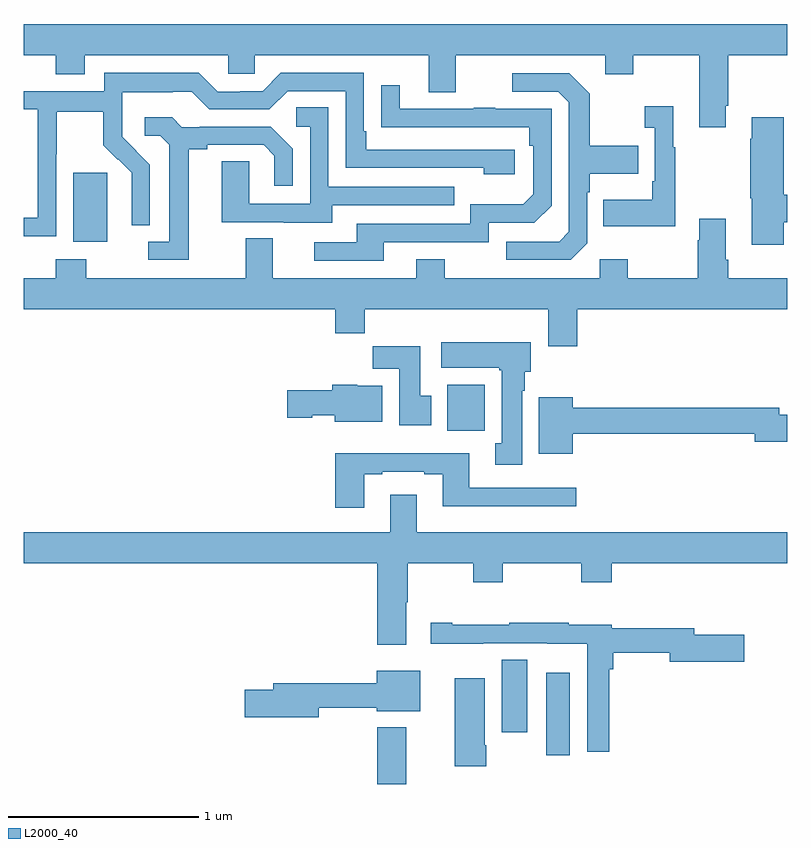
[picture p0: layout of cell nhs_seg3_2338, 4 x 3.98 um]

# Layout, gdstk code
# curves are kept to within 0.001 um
import gdstk
lib = gdstk.Library(unit=1e-6, precision=1e-09)
def R(c, l, rs):  # rectangles x0, y0, x1, y1
    for r in rs: c.add(gdstk.rectangle(r[:2], r[2:], *l))
def P(c, l, *ps):  # polygons
    for p in ps: c.add(gdstk.Polygon(p, *l))
L2000_40 = (2000, 40)

nhs_seg3_2338 = lib.new_cell('nhs_seg3_2338')
R(nhs_seg3_2338, L2000_40, [(232.853,726.4,233.005,726.697), (233.738,726.552,233.86,726.982), (233.504,726.672,233.638,727.052), (233.219,728.252,233.416,728.494), (231.257,729.242,231.436,729.603)])
P(nhs_seg3_2338, L2000_40, [(234.679,729.955),(234.692,729.955),(234.692,730.22),(235,730.22),(235,730.384),(231,730.384),(231,730.22),(231.167,730.22),(231.167,730.121),(231.319,730.121),(231.319,730.22),(232.071,730.22),(232.071,730.122),(232.209,730.122),(232.209,730.22),(233.123,730.22),(233.123,730.026),(233.263,730.026),(233.263,730.22),(234.047,730.22),(234.047,730.121),(234.195,730.121),(234.195,730.22),(234.539,730.22),(234.539,729.843),(234.679,729.843)],
  [(231.168,729.7),(231.171,729.7),(231.171,729.924),(231.415,729.924),(231.415,729.749),(231.492,729.672),(231.495,729.675),(231.566,729.605),(231.566,729.482),(231.564,729.482),(231.564,729.328),(231.66,729.328),(231.66,729.646),(231.514,729.794),(231.514,729.891),(231.516,729.891),(231.516,730.025),(231.779,730.025),(231.779,730.029),(231.879,730.029),(231.972,729.936),(232.287,729.936),(232.383,730.032),(232.686,730.032),(232.686,729.63),(233.411,729.63),(233.411,729.596),(233.572,729.596),(233.572,729.726),(232.795,729.726),(232.795,729.823),(232.782,729.823),(232.782,730.128),(232.347,730.128),(232.251,730.032),(232.133,730.032),(232.133,730.029),(232.017,730.029),(231.917,730.129),(231.42,730.129),(231.42,730.032),(231,730.032),(231,729.936),(231.072,729.936),(231.072,729.369),(231,729.369),(231,729.271),(231.168,729.271)],
  [(233.952,729.234),(233.952,729.503),(233.965,729.503),(233.965,729.599),(234.221,729.599),(234.221,729.747),(233.965,729.747),(233.965,730.019),(233.859,730.125),(233.559,730.125),(233.559,730.029),(233.802,730.029),(233.856,729.975),(233.856,729.294),(233.805,729.243),(233.529,729.243),(233.529,729.147),(233.865,729.147)],
  [(232.885,729.24),(233.436,729.24),(233.436,729.342),(233.676,729.342),(233.766,729.432),(233.766,729.939),(233.471,729.939),(233.471,729.944),(233.359,729.944),(233.359,729.939),(232.969,729.939),(232.969,730.063),(232.873,730.063),(232.873,729.844),(233.65,729.843),(233.65,729.746),(233.67,729.746),(233.67,729.492),(233.617,729.439),(233.34,729.439),(233.34,729.336),(232.745,729.336),(232.745,729.24),(232.521,729.24),(232.521,729.144),(232.885,729.144)],
  [(234.415,729.739),(234.403,729.739),(234.403,729.952),(234.255,729.952),(234.255,729.839),(234.306,729.839),(234.306,729.559),(234.294,729.559),(234.294,729.463),(234.037,729.463),(234.037,729.323),(234.415,729.323)],
  [(232.615,729.435),(233.255,729.435),(233.255,729.531),(232.596,729.531),(232.596,729.947),(232.428,729.947),(232.428,729.846),(232.5,729.846),(232.5,729.441),(232.182,729.441),(232.182,729.665),(232.037,729.665),(232.037,729.345),(232.361,729.345),(232.361,729.341),(232.615,729.341)],
  [(231.865,729.728),(231.961,729.728),(231.961,729.75),(232.256,729.75),(232.313,729.693),(232.313,729.537),(232.41,729.537),(232.41,729.73),(232.294,729.846),(231.922,729.846),(231.922,729.843),(231.828,729.843),(231.776,729.895),(231.633,729.895),(231.633,729.798),(231.714,729.798),(231.761,729.751),(231.761,729.243),(231.651,729.243),(231.651,729.147),(231.865,729.147)],
  [(234.983,729.346),(235,729.346),(235,729.488),(234.983,729.488),(234.983,729.895),(234.815,729.895),(234.815,729.782),(234.808,729.782),(234.808,729.471),(234.815,729.471),(234.815,729.228),(234.983,729.228)],
  [(233.9,728.888),(235,728.888),(235,729.052),(234.692,729.052),(234.692,729.148),(234.679,729.148),(234.679,729.364),(234.539,729.364),(234.539,729.251),(234.532,729.251),(234.532,729.052),(234.165,729.052),(234.165,729.151),(234.018,729.151),(234.018,729.052),(233.205,729.052),(233.205,729.151),(233.057,729.151),(233.057,729.052),(232.303,729.052),(232.303,729.26),(232.163,729.26),(232.163,729.052),(231.327,729.052),(231.327,729.151),(231.167,729.151),(231.167,729.052),(231,729.052),(231,728.888),(232.631,728.888),(232.631,728.764),(232.787,728.764),(232.787,728.888),(233.747,728.888),(233.747,728.694),(233.9,728.694)],
  [(233.611,728.462),(233.626,728.462),(233.626,728.562),(233.656,728.562),(233.656,728.716),(233.187,728.716),(233.187,728.582),(233.491,728.582),(233.491,728.569),(233.504,728.569),(233.504,728.186),(233.471,728.186),(233.471,728.073),(233.611,728.073)],
  [(233.134,728.436),(233.077,728.436),(233.077,728.695),(232.828,728.695),(232.828,728.576),(232.967,728.576),(232.967,728.28),(233.134,728.28)],
  [(232.879,728.488),(232.746,728.488),(232.746,728.494),(232.616,728.494),(232.616,728.463),(232.38,728.463),(232.38,728.321),(232.512,728.321),(232.512,728.333),(232.628,728.333),(232.628,728.3),(232.879,728.3)],
  [(233.878,728.236),(234.83,728.236),(234.83,728.194),(235,728.194),(235,728.336),(234.958,728.336),(234.958,728.372),(233.878,728.372),(233.878,728.428),(233.699,728.428),(233.699,728.132),(233.878,728.132)],
  [(232.783,728.025),(232.879,728.025),(232.879,728.037),(233.099,728.037),(233.099,728.025),(233.195,728.025),(233.195,727.856),(233.896,727.856),(233.896,727.953),(233.335,727.953),(233.335,728.134),(232.631,728.134),(232.631,727.848),(232.783,727.848)],
  [(233.005,727.352),(233.013,727.352),(233.013,727.556),(233.356,727.556),(233.356,727.457),(233.511,727.457),(233.511,727.556),(233.92,727.556),(233.92,727.457),(234.08,727.457),(234.08,727.556),(235,727.556),(235,727.72),(233.059,727.72),(233.059,727.915),(232.919,727.915),(232.919,727.72),(231,727.72),(231,727.556),(232.853,727.556),(232.853,727.131),(233.005,727.131)],
  [(234.068,727.001),(234.09,727.001),(234.09,727.087),(234.386,727.087),(234.386,727.04),(234.775,727.04),(234.775,727.182),(234.514,727.182),(234.514,727.216),(234.082,727.216),(234.082,727.236),(233.855,727.236),(233.855,727.246),(233.545,727.246),(233.545,727.236),(233.245,727.236),(233.245,727.246),(233.133,727.246),(233.133,727.136),(233.408,727.136),(233.408,727.137),(233.742,727.137),(233.742,727.136),(233.952,727.136),(233.952,726.57),(234.068,726.57)],
  [(232.546,726.801),(232.85,726.801),(232.85,726.782),(233.077,726.782),(233.077,726.994),(232.85,726.994),(232.85,726.929),(232.307,726.929),(232.307,726.893),(232.158,726.893),(232.158,726.751),(232.546,726.751)],
  [(233.424,726.604),(233.416,726.604),(233.416,726.955),(233.258,726.955),(233.258,726.492),(233.424,726.492)])

lib.write_gds('nhs_seg3_2338.gds')
